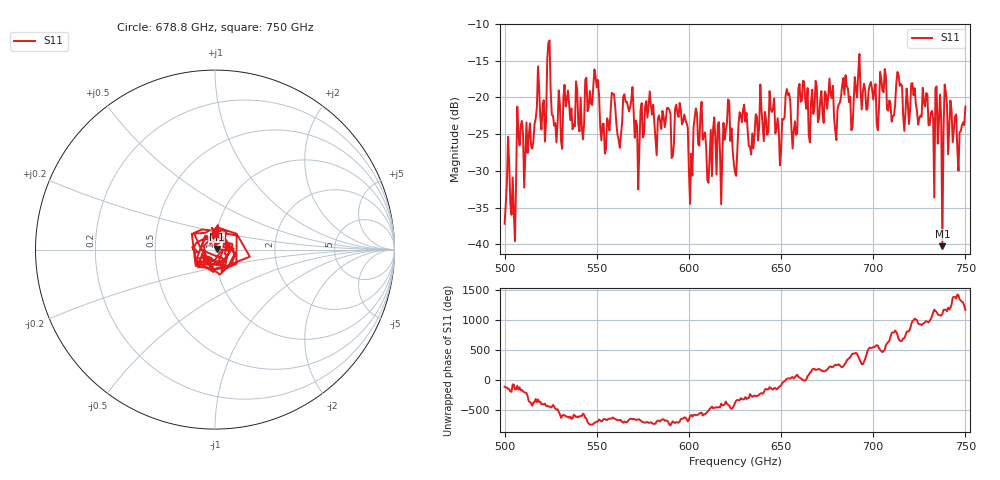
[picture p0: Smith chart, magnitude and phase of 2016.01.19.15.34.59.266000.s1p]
!Created with skrf (http://scikit-rf.org).
# GHz S RI R 50.0
!freq ReS11 ImS11
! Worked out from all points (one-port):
!   401 points, 500 GHz to 750 GHz, reference 50 ohm
!   lowest |S11| = -40.3 dB at 737.5 GHz (marker M1), VSWR 1.02, Z = 50.9 + j0.395 ohm
!   |S11| at or under -10 dB: start of sweep to end of sweep
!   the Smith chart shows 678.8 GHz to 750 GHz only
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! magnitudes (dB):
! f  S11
! 500 GHz  -37.2
! 505 GHz  -35.7
! 508.1 GHz  -26.5
! 521.2 GHz  -20.4
! 523.8 GHz  -12.5
! 526.9 GHz  -23.8
! 531.2 GHz  -27.0
! 549.4 GHz  -17.2
! 553.8 GHz  -23.6
! 558.8 GHz  -19.5
! 562.5 GHz  -26.9
! 565.6 GHz  -20.6
! 571.9 GHz  -23.8
! 577.5 GHz  -22.8
! 593.8 GHz  -22.1
! 600.6 GHz  -34.5
! 603.8 GHz  -21.5
! 611.2 GHz  -28.1
! 620.6 GHz  -23.5
! 625 GHz  -30.2
! 628.8 GHz  -23.4
! 656.2 GHz  -27.0
! 661.2 GHz  -20.4
! 687.5 GHz  -19.9
! 691.2 GHz  -20.0
! 718.8 GHz  -20.7
! 737.5 GHz  -40.3
! 750 GHz  -21.2
